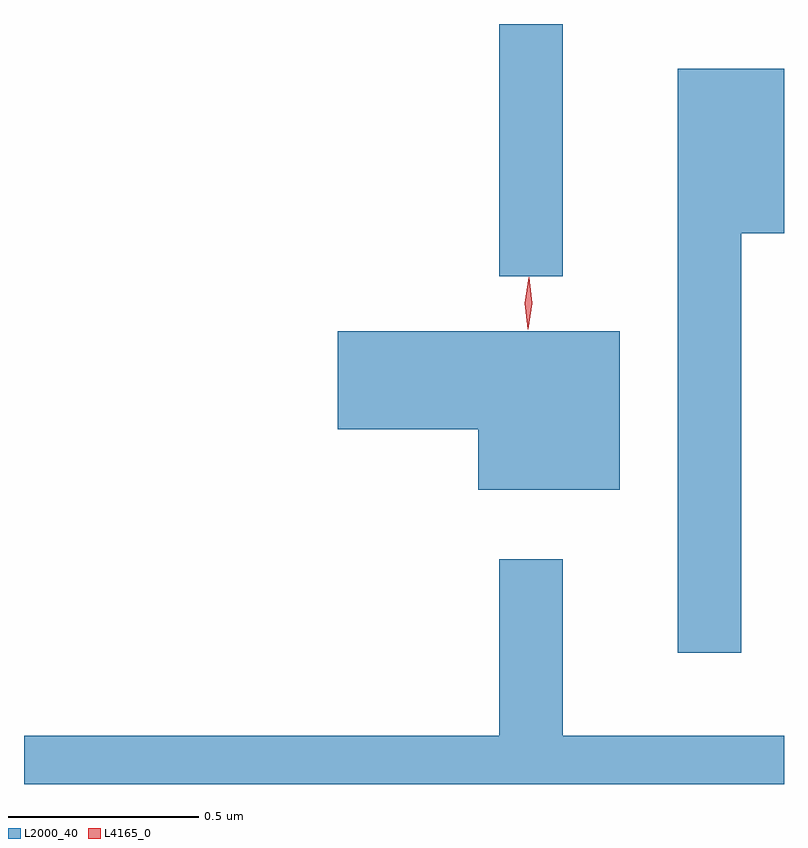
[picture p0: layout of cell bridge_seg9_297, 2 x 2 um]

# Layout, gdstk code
import gdstk
lib = gdstk.Library(unit=1e-6, precision=1e-09)
def R(c, l, rs):  # rectangles x0, y0, x1, y1
    for r in rs: c.add(gdstk.rectangle(r[:2], r[2:], *l))
def P(c, l, *ps):  # polygons
    for p in ps: c.add(gdstk.Polygon(p, *l))
L2000_40 = (2000, 40)
L4165_0 = (4165, 0)

bridge_seg9_297 = lib.new_cell('bridge_seg9_297')
R(bridge_seg9_297, L2000_40, [(966.821,2015.493,966.989,2016.157)])
P(bridge_seg9_297, L2000_40, [(967.459,2015.606),(967.571,2015.606),(967.571,2016.039),(967.291,2016.039),(967.291,2014.503),(967.459,2014.503)],
  [(967.139,2015.349),(966.396,2015.349),(966.396,2015.091),(966.766,2015.091),(966.766,2014.931),(967.139,2014.931)],
  [(967.571,2014.284),(966.989,2014.284),(966.989,2014.748),(966.821,2014.748),(966.821,2014.284),(965.571,2014.284),(965.571,2014.157),(967.571,2014.157)])
P(bridge_seg9_297, L4165_0, [(966.897,2015.354),(966.889,2015.422),(966.899,2015.49),(966.9,2015.49),(966.9,2015.49),(966.909,2015.422),(966.898,2015.354),(966.898,2015.354)],
  [(966.898,2015.36),(966.897,2015.361),(966.889,2015.424),(966.899,2015.486),(966.9,2015.487),(966.9,2015.486),(966.909,2015.423),(966.898,2015.361)])

lib.write_gds('bridge_seg9_297.gds')
